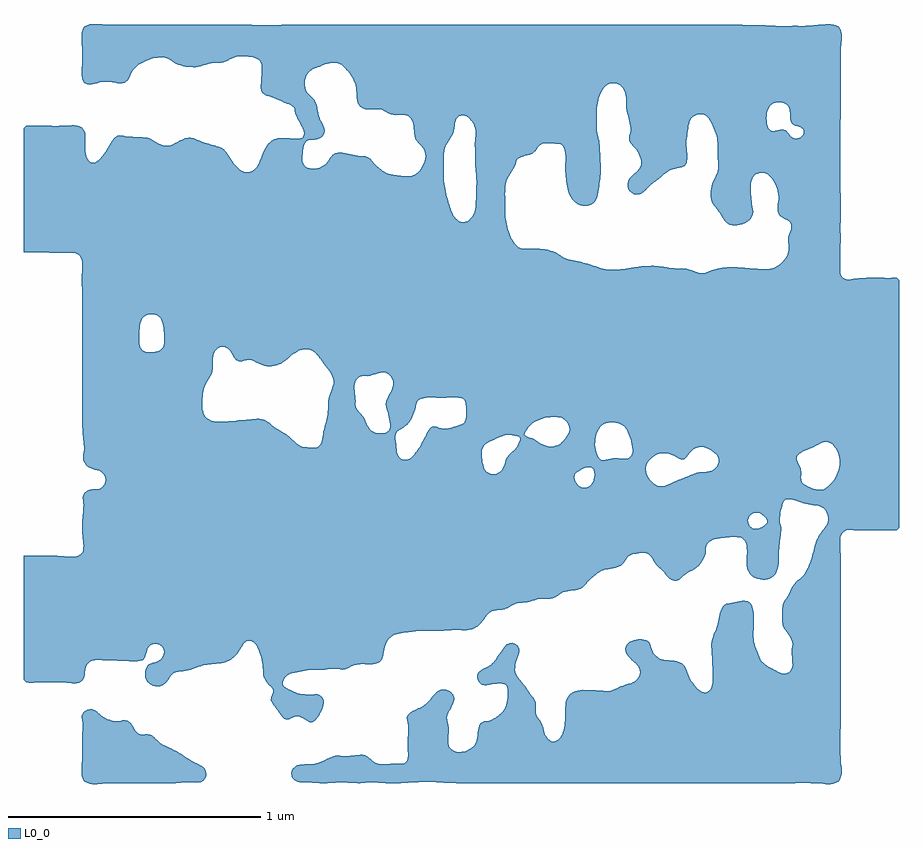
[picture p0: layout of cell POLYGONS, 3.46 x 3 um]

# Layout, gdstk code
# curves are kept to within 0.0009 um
import gdstk
lib = gdstk.Library(unit=1e-6, precision=1e-09)
def R(c, l, rs):  # rectangles x0, y0, x1, y1
    for r in rs: c.add(gdstk.rectangle(r[:2], r[2:], *l))
def P(c, l, *ps):  # polygons
    for p in ps: c.add(gdstk.Polygon(p, *l))
L0_0 = (0, 0)

polygons = lib.new_cell('POLYGONS')
R(polygons, L0_0, [(-1.314,-0.46,-1.11,-0.29), (-1.11,-0.46,-0.84,-0.29), (-0.84,-0.46,-0.67,-0.29), (-0.67,-0.46,-0.56,-0.29), (-0.56,-0.46,-0.41,-0.29), (-0.41,-0.46,-0.255,-0.29), (-0.255,-0.46,-0.11,-0.29), (-0.11,-0.46,0.03,-0.29), (0.03,-0.46,0.161,-0.29), (0.161,-0.46,0.28,-0.29), (0.28,-0.46,0.426,-0.29), (0.55,-0.46,0.69,-0.26), (-1.314,-0.29,-1.11,0), (-0.11,-0.29,0.03,-0.19), (-0.11,-0.19,0.03,-0.12)])
P(polygons, L0_0, [(-1.47,-1.501),(-1.44,-1.502),(-1.41,-1.5),(-1.22,-1.5),(-1.21,-1.499),(-1.14,-1.5),(-1.09,-1.495),(-1.07,-1.495),(-1.05,-1.497),(-1.03,-1.495),(-1.02,-1.49),(-1.01,-1.476),(-1.008,-1.47),(-1.008,-1.46),(-1.01,-1.452),(-1.016,-1.44),(-1.028,-1.43),(-1.04,-1.423),(-1.06,-1.415),(-1.13,-1.371),(-1.173,-1.35),(-1.19,-1.34),(-1.203,-1.33),(-1.22,-1.313),(-1.23,-1.307),(-1.24,-1.305),(-1.26,-1.307),(-1.27,-1.306),(-1.282,-1.3),(-1.291,-1.29),(-1.3,-1.273),(-1.309,-1.26),(-1.32,-1.252),(-1.33,-1.25),(-1.36,-1.254),(-1.38,-1.252),(-1.387,-1.25),(-1.4,-1.246),(-1.412,-1.24),(-1.42,-1.235),(-1.44,-1.217),(-1.45,-1.211),(-1.46,-1.207),(-1.47,-1.207),(-1.48,-1.209),(-1.49,-1.214),(-1.501,-1.23),(-1.501,-1.24),(-1.498,-1.26),(-1.498,-1.29),(-1.5,-1.33),(-1.5,-1.41),(-1.502,-1.44),(-1.501,-1.47),(-1.5,-1.475),(-1.493,-1.49),(-1.49,-1.493),(-1.48,-1.498)],
  [(-1.499,1.476),(-1.5,1.474),(-1.501,1.47),(-1.502,1.46),(-1.502,1.44),(-1.501,1.43),(-1.501,1.42),(-1.5,1.41),(-1.5,1.34),(-1.501,1.33),(-1.501,1.3),(-1.5,1.289),(-1.499,1.286)],
  [(-1.499,1.09),(-1.51,1.097),(-1.519,1.1),(-1.53,1.101),(-1.6,1.098),(-1.72,1.1),(-1.73,1.09),(-1.73,0.6),(-1.66,0.6),(-1.63,0.598),(-1.53,0.597),(-1.52,0.594),(-1.51,0.587),(-1.505,0.58),(-1.501,0.57),(-1.499,0.555)],
  [(-1.5,0.22),(-1.5,0.03),(-1.499,0.02),(-1.499,0.01),(-1.499,0.536),(-1.5,0.53),(-1.5,0.52),(-1.501,0.51),(-1.501,0.47),(-1.5,0.46)],
  [(-1.499,-0.466),(-1.5,-0.47),(-1.5,-0.475),(-1.5,-0.48),(-1.5,-0.49),(-1.5,-0.5),(-1.5,-0.5),(-1.499,-0.507)],
  [(-1.52,-1.104),(-1.508,-1.1),(-1.499,-1.093),(-1.499,-0.587),(-1.51,-0.598),(-1.52,-0.602),(-1.53,-0.604),(-1.55,-0.604),(-1.61,-0.599),(-1.73,-0.6),(-1.73,-1.09),(-1.72,-1.1),(-1.71,-1.101),(-1.59,-1.099),(-1.57,-1.1),(-1.53,-1.105)],
  [(-1.46,1.263),(-1.435,1.27),(-1.41,1.274),(-1.4,1.274),(-1.37,1.271),(-1.36,1.268),(-1.34,1.267),(-1.33,1.271),(-1.32,1.28),(-1.314,1.29),(-1.314,1.5),(-1.37,1.499),(-1.46,1.502),(-1.47,1.501),(-1.48,1.498),(-1.49,1.493),(-1.493,1.49),(-1.499,1.476),(-1.499,1.286),(-1.498,1.28),(-1.49,1.268),(-1.48,1.263),(-1.47,1.262)],
  [(-1.314,1.057),(-1.35,1.062),(-1.36,1.06),(-1.37,1.053),(-1.381,1.04),(-1.405,1),(-1.428,0.97),(-1.44,0.959),(-1.45,0.954),(-1.46,0.954),(-1.472,0.96),(-1.48,0.97),(-1.484,0.98),(-1.488,1.01),(-1.487,1.05),(-1.488,1.07),(-1.492,1.08),(-1.499,1.09),(-1.499,0.25),(-1.314,0.25)],
  [(-1.499,-0.02),(-1.499,-0.09),(-1.492,-0.17),(-1.492,-0.18),(-1.496,-0.21),(-1.495,-0.22),(-1.492,-0.23),(-1.486,-0.24),(-1.474,-0.25),(-1.46,-0.256),(-1.43,-0.264),(-1.421,-0.27),(-1.413,-0.28),(-1.41,-0.286),(-1.407,-0.3),(-1.41,-0.316),(-1.42,-0.33),(-1.43,-0.335),(-1.46,-0.336),(-1.47,-0.338),(-1.48,-0.342),(-1.49,-0.35),(-1.496,-0.36),(-1.497,-0.37),(-1.494,-0.4),(-1.499,-0.46),(-1.499,-0.51),(-1.494,-0.56),(-1.496,-0.58),(-1.499,-0.587),(-1.499,-1.093),(-1.492,-1.08),(-1.489,-1.07),(-1.488,-1.05),(-1.486,-1.04),(-1.482,-1.03),(-1.472,-1.02),(-1.46,-1.014),(-1.45,-1.012),(-1.43,-1.011),(-1.314,-1.016),(-1.314,0.25),(-1.499,0.25)],
  [(-1.31,1.299),(-1.299,1.32),(-1.29,1.33),(-1.28,1.338),(-1.24,1.359),(-1.23,1.363),(-1.21,1.368),(-1.191,1.37),(-1.18,1.37),(-1.17,1.368),(-1.153,1.36),(-1.13,1.345),(-1.11,1.338),(-1.11,1.5),(-1.314,1.5),(-1.314,1.29)],
  [(-1.11,1.043),(-1.15,1.023),(-1.16,1.021),(-1.17,1.021),(-1.18,1.022),(-1.2,1.03),(-1.22,1.043),(-1.24,1.052),(-1.27,1.055),(-1.29,1.055),(-1.314,1.057),(-1.314,0.25),(-1.274,0.25),(-1.273,0.29),(-1.27,0.317),(-1.266,0.33),(-1.26,0.341),(-1.25,0.349),(-1.24,0.353),(-1.23,0.354),(-1.21,0.353),(-1.2,0.349),(-1.189,0.34),(-1.18,0.32),(-1.174,0.27),(-1.174,0.24),(-1.18,0.223),(-1.19,0.213),(-1.195,0.21),(-1.21,0.206),(-1.24,0.205),(-1.25,0.207),(-1.26,0.211),(-1.268,0.22),(-1.27,0.225),(-1.274,0.25),(-1.314,0.25),(-1.314,0),(-1.11,0)],
  [(-1.19,-1.115),(-1.18,-1.112),(-1.17,-1.104),(-1.15,-1.074),(-1.14,-1.065),(-1.13,-1.06),(-1.11,-1.057),(-1.11,-0.46),(-1.314,-0.46),(-1.314,-1.016),(-1.28,-1.016),(-1.27,-1.015),(-1.26,-1.012),(-1.251,-1),(-1.24,-0.966),(-1.23,-0.954),(-1.22,-0.949),(-1.21,-0.948),(-1.2,-0.949),(-1.19,-0.953),(-1.182,-0.96),(-1.176,-0.97),(-1.175,-0.98),(-1.176,-0.99),(-1.18,-1),(-1.19,-1.011),(-1.209,-1.02),(-1.23,-1.026),(-1.238,-1.03),(-1.245,-1.04),(-1.251,-1.06),(-1.25,-1.08),(-1.246,-1.09),(-1.239,-1.1),(-1.23,-1.108),(-1.22,-1.113),(-1.21,-1.116)],
  [(-1.04,1.333),(-0.99,1.347),(-0.97,1.349),(-0.95,1.348),(-0.94,1.35),(-0.9,1.369),(-0.89,1.372),(-0.87,1.375),(-0.84,1.373),(-0.84,1.499),(-1.11,1.5),(-1.11,1.338),(-1.1,1.335),(-1.09,1.334),(-1.06,1.332)],
  [(-1.024,0.01),(-1.022,0.04),(-1.018,0.06),(-1.01,0.081),(-0.988,0.12),(-0.983,0.15),(-0.982,0.19),(-0.979,0.2),(-0.97,0.215),(-0.96,0.223),(-0.95,0.226),(-0.94,0.226),(-0.93,0.223),(-0.914,0.21),(-0.9,0.185),(-0.89,0.173),(-0.885,0.17),(-0.88,0.168),(-0.87,0.167),(-0.85,0.173),(-0.84,0.174),(-0.84,0.916),(-0.85,0.916),(-0.86,0.918),(-0.87,0.922),(-0.88,0.929),(-0.9,0.95),(-0.93,0.996),(-0.94,1.006),(-0.95,1.013),(-0.96,1.017),(-1.01,1.031),(-1.059,1.05),(-1.07,1.053),(-1.08,1.053),(-1.09,1.051),(-1.11,1.043),(-1.11,0),(-1.025,0)],
  [(-0.84,-0.062),(-0.94,-0.071),(-0.97,-0.071),(-0.98,-0.069),(-0.99,-0.066),(-1,-0.061),(-1.012,-0.05),(-1.018,-0.04),(-1.024,-0.02),(-1.025,0),(-1.11,0),(-1.11,-0.29),(-0.84,-0.29)],
  [(-1.1,-1.056),(-1.08,-1.053),(-1.04,-1.038),(-1.02,-1.033),(-1,-1.029),(-0.95,-1.024),(-0.93,-1.019),(-0.913,-1.01),(-0.9,-1.001),(-0.881,-0.98),(-0.86,-0.946),(-0.85,-0.938),(-0.84,-0.936),(-0.84,-0.46),(-1.11,-0.46),(-1.11,-1.057)],
  [(-0.67,1.499),(-0.72,1.498),(-0.84,1.499),(-0.84,1.373),(-0.83,1.372),(-0.81,1.365),(-0.802,1.36),(-0.793,1.35),(-0.79,1.34),(-0.79,1.3),(-0.793,1.25),(-0.792,1.24),(-0.788,1.23),(-0.773,1.22),(-0.74,1.209),(-0.7,1.191),(-0.68,1.184),(-0.67,1.178)],
  [(-0.8,0.953),(-0.807,0.94),(-0.82,0.926),(-0.84,0.916),(-0.84,0.174),(-0.83,0.172),(-0.79,0.155),(-0.78,0.152),(-0.77,0.15),(-0.75,0.149),(-0.73,0.153),(-0.71,0.162),(-0.697,0.17),(-0.67,0.194),(-0.67,1.049),(-0.69,1.051),(-0.72,1.051),(-0.74,1.046),(-0.75,1.04),(-0.761,1.03),(-0.776,1.01)],
  [(-0.67,-0.139),(-0.68,-0.129),(-0.7,-0.115),(-0.73,-0.098),(-0.75,-0.084),(-0.767,-0.07),(-0.78,-0.063),(-0.79,-0.06),(-0.8,-0.059),(-0.84,-0.062),(-0.84,-0.29),(-0.67,-0.29)],
  [(-0.68,-1.246),(-0.67,-1.24),(-0.67,-1.134),(-0.697,-1.12),(-0.706,-1.11),(-0.706,-1.1),(-0.703,-1.09),(-0.697,-1.08),(-0.685,-1.07),(-0.67,-1.065),(-0.67,-0.46),(-0.84,-0.46),(-0.84,-0.936),(-0.826,-0.94),(-0.814,-0.95),(-0.803,-0.97),(-0.795,-0.99),(-0.787,-1.02),(-0.784,-1.06),(-0.781,-1.08),(-0.77,-1.1),(-0.75,-1.121),(-0.744,-1.13),(-0.745,-1.14),(-0.752,-1.16),(-0.753,-1.17),(-0.749,-1.18),(-0.71,-1.234),(-0.7,-1.245),(-0.69,-1.249)],
  [(-0.67,-1.45),(-0.67,-1.45),(-0.672,-1.46),(-0.671,-1.47),(-0.67,-1.473)],
  [(-0.629,0.98),(-0.627,1),(-0.623,1.02),(-0.62,1.03),(-0.612,1.04),(-0.6,1.044),(-0.57,1.046),(-0.56,1.05),(-0.56,1.128),(-0.565,1.14),(-0.573,1.18),(-0.58,1.199),(-0.589,1.21),(-0.61,1.231),(-0.615,1.24),(-0.618,1.25),(-0.619,1.26),(-0.619,1.28),(-0.613,1.3),(-0.606,1.31),(-0.59,1.323),(-0.56,1.334),(-0.56,1.5),(-0.67,1.499),(-0.67,1.178),(-0.662,1.17),(-0.654,1.14),(-0.65,1.13),(-0.64,1.114),(-0.628,1.09),(-0.624,1.08),(-0.622,1.07),(-0.623,1.06),(-0.63,1.051),(-0.64,1.049),(-0.67,1.049),(-0.67,0.97),(-0.63,0.97)],
  [(-0.66,0.201),(-0.64,0.212),(-0.63,0.215),(-0.61,0.216),(-0.589,0.21),(-0.58,0.204),(-0.56,0.181),(-0.56,0.934),(-0.57,0.931),(-0.59,0.929),(-0.61,0.934),(-0.619,0.94),(-0.626,0.95),(-0.629,0.96),(-0.63,0.97),(-0.67,0.97),(-0.67,0.194)],
  [(-0.56,-0.164),(-0.57,-0.171),(-0.58,-0.172),(-0.62,-0.171),(-0.63,-0.169),(-0.65,-0.159),(-0.67,-0.139),(-0.67,-0.29),(-0.56,-0.29)],
  [(-0.66,-1.062),(-0.594,-1.05),(-0.56,-1.051),(-0.56,-0.46),(-0.67,-0.46),(-0.67,-1.065)],
  [(-0.66,-1.236),(-0.65,-1.234),(-0.64,-1.236),(-0.6,-1.257),(-0.59,-1.257),(-0.58,-1.252),(-0.57,-1.24),(-0.56,-1.224),(-0.56,-1.152),(-0.57,-1.148),(-0.61,-1.149),(-0.64,-1.146),(-0.658,-1.14),(-0.67,-1.134),(-0.67,-1.24)],
  [(-0.56,-1.416),(-0.57,-1.42),(-0.58,-1.422),(-0.6,-1.424),(-0.62,-1.424),(-0.65,-1.428),(-0.665,-1.44),(-0.67,-1.45),(-0.67,-1.473),(-0.667,-1.48),(-0.66,-1.488),(-0.65,-1.493),(-0.64,-1.495),(-0.6,-1.496),(-0.56,-1.499)],
  [(-0.545,1.34),(-0.52,1.347),(-0.51,1.348),(-0.49,1.347),(-0.474,1.34),(-0.462,1.33),(-0.45,1.317),(-0.43,1.29),(-0.42,1.267),(-0.416,1.25),(-0.415,1.22),(-0.413,1.2),(-0.41,1.189),(-0.41,1.5),(-0.56,1.5),(-0.56,1.334)],
  [(-0.55,1.057),(-0.548,1.06),(-0.542,1.07),(-0.541,1.08),(-0.542,1.09),(-0.546,1.1),(-0.55,1.11),(-0.55,1.11),(-0.556,1.12),(-0.56,1.128),(-0.56,1.05)],
  [(-0.518,0.04),(-0.522,0.03),(-0.526,0.01),(-0.529,-0.04),(-0.535,-0.07),(-0.546,-0.11),(-0.55,-0.14),(-0.557,-0.16),(-0.56,-0.164),(-0.56,-0.29),(-0.41,-0.29),(-0.41,-0.025),(-0.414,-0.02),(-0.418,-0.01),(-0.419,0),(-0.418,0.01),(-0.423,0.06),(-0.422,0.08),(-0.419,0.09),(-0.41,0.102),(-0.41,0.981),(-0.449,0.99),(-0.48,0.995),(-0.49,0.994),(-0.5,0.991),(-0.51,0.984),(-0.521,0.97),(-0.53,0.955),(-0.54,0.945),(-0.56,0.934),(-0.56,0.181),(-0.521,0.13),(-0.506,0.1),(-0.505,0.08)],
  [(-0.55,-1.05),(-0.54,-1.05),(-0.51,-1.046),(-0.5,-1.046),(-0.469,-1.05),(-0.46,-1.048),(-0.42,-1.031),(-0.41,-1.029),(-0.41,-0.46),(-0.56,-0.46),(-0.56,-1.051)],
  [(-0.558,-1.22),(-0.552,-1.21),(-0.55,-1.204),(-0.548,-1.2),(-0.546,-1.19),(-0.544,-1.18),(-0.545,-1.17),(-0.55,-1.16),(-0.55,-1.16),(-0.56,-1.152),(-0.56,-1.224)],
  [(-0.54,-1.499),(-0.49,-1.496),(-0.46,-1.496),(-0.41,-1.499),(-0.41,-1.388),(-0.45,-1.392),(-0.47,-1.392),(-0.49,-1.389),(-0.496,-1.39),(-0.525,-1.4),(-0.54,-1.408),(-0.56,-1.416),(-0.56,-1.499)],
  [(-0.255,1.143),(-0.255,1.5),(-0.41,1.5),(-0.41,1.189),(-0.4,1.174),(-0.393,1.17),(-0.38,1.166),(-0.32,1.165),(-0.31,1.162),(-0.29,1.15),(-0.28,1.146),(-0.27,1.143),(-0.26,1.142)],
  [(-0.395,0.11),(-0.39,0.111),(-0.37,0.11),(-0.32,0.124),(-0.31,0.125),(-0.3,0.124),(-0.29,0.12),(-0.28,0.11),(-0.27,0.09),(-0.269,0.08),(-0.271,0.07),(-0.278,0.05),(-0.29,0.029),(-0.298,0.01),(-0.299,0),(-0.298,-0.01),(-0.289,-0.04),(-0.283,-0.07),(-0.282,-0.08),(-0.283,-0.1),(-0.29,-0.108),(-0.3,-0.113),(-0.31,-0.115),(-0.32,-0.116),(-0.33,-0.115),(-0.34,-0.113),(-0.35,-0.109),(-0.362,-0.1),(-0.369,-0.09),(-0.389,-0.05),(-0.41,-0.025),(-0.41,-0.13),(-0.261,-0.13),(-0.26,-0.119),(-0.255,-0.109),(-0.255,0.904),(-0.29,0.91),(-0.31,0.919),(-0.33,0.935),(-0.345,0.95),(-0.36,0.969),(-0.37,0.976),(-0.38,0.979),(-0.41,0.981),(-0.41,0.102),(-0.4,0.109)],
  [(-0.255,-0.19),(-0.256,-0.18),(-0.257,-0.17),(-0.258,-0.16),(-0.26,-0.15),(-0.26,-0.145),(-0.261,-0.14),(-0.261,-0.13),(-0.41,-0.13),(-0.41,-0.29),(-0.255,-0.29)],
  [(-0.4,-1.028),(-0.39,-1.027),(-0.36,-1.029),(-0.35,-1.028),(-0.33,-1.023),(-0.325,-1.02),(-0.316,-1.01),(-0.31,-0.995),(-0.3,-0.95),(-0.29,-0.931),(-0.28,-0.921),(-0.27,-0.915),(-0.255,-0.909),(-0.255,-0.46),(-0.41,-0.46),(-0.41,-1.029)],
  [(-0.26,-1.499),(-0.255,-1.499),(-0.255,-1.422),(-0.32,-1.423),(-0.335,-1.42),(-0.353,-1.41),(-0.37,-1.395),(-0.38,-1.389),(-0.39,-1.387),(-0.41,-1.388),(-0.41,-1.499),(-0.37,-1.496),(-0.34,-1.496),(-0.3,-1.499)],
  [(-0.19,0.904),(-0.2,0.901),(-0.23,0.901),(-0.255,0.904),(-0.255,-0.109),(-0.243,-0.1),(-0.22,-0.086),(-0.21,-0.077),(-0.205,-0.07),(-0.194,-0.05),(-0.186,-0.03),(-0.178,0),(-0.174,0.01),(-0.17,0.014),(-0.161,0.02),(-0.15,0.023),(-0.13,0.026),(-0.11,0.026),(-0.11,1.499),(-0.12,1.5),(-0.255,1.5),(-0.255,1.143),(-0.22,1.142),(-0.21,1.139),(-0.2,1.13),(-0.191,1.11),(-0.186,1.08),(-0.186,1.07),(-0.183,1.05),(-0.177,1.04),(-0.151,1.01),(-0.146,1),(-0.143,0.99),(-0.142,0.98),(-0.143,0.97),(-0.15,0.95),(-0.16,0.93),(-0.167,0.92),(-0.178,0.91)],
  [(-0.144,-0.13),(-0.16,-0.16),(-0.179,-0.19),(-0.19,-0.204),(-0.2,-0.214),(-0.21,-0.219),(-0.22,-0.221),(-0.23,-0.22),(-0.24,-0.216),(-0.247,-0.21),(-0.25,-0.205),(-0.255,-0.19),(-0.255,-0.29),(-0.11,-0.29),(-0.11,-0.088),(-0.12,-0.092),(-0.13,-0.103)],
  [(-0.25,-0.908),(-0.23,-0.904),(-0.16,-0.896),(-0.11,-0.896),(-0.11,-0.46),(-0.255,-0.46),(-0.255,-0.909)],
  [(-0.25,-1.499),(-0.22,-1.498),(-0.19,-1.495),(-0.13,-1.493),(-0.11,-1.494),(-0.11,-1.152),(-0.13,-1.175),(-0.147,-1.19),(-0.163,-1.2),(-0.202,-1.22),(-0.212,-1.23),(-0.216,-1.24),(-0.21,-1.28),(-0.213,-1.33),(-0.213,-1.36),(-0.211,-1.38),(-0.212,-1.4),(-0.215,-1.41),(-0.22,-1.417),(-0.23,-1.421),(-0.255,-1.422),(-0.255,-1.499)],
  [(-0.071,0.92),(-0.069,1),(-0.066,1.01),(-0.057,1.03),(-0.04,1.056),(-0.033,1.07),(-0.028,1.09),(-0.026,1.11),(-0.02,1.128),(-0.01,1.137),(0,1.141),(0.013,1.14),(0.02,1.137),(0.03,1.13),(0.03,1.499),(-0.11,1.499),(-0.11,0.91),(-0.071,0.91)],
  [(0.03,0.727),(0.02,0.721),(0.01,0.719),(0,0.719),(-0.01,0.723),(-0.019,0.73),(-0.03,0.742),(-0.035,0.75),(-0.043,0.77),(-0.063,0.84),(-0.069,0.87),(-0.071,0.91),(-0.11,0.91),(-0.11,0.026),(-0.08,0.024),(-0.05,0.026),(-0.02,0.026),(0,0.023),(0.01,0.017),(0.015,0.01),(0.019,-0.02),(0.019,-0.05),(0.017,-0.06),(0.013,-0.07),(0.003,-0.08),(-0.04,-0.093),(-0.06,-0.097),(-0.08,-0.096),(-0.1,-0.089),(-0.11,-0.088),(-0.11,-0.12),(0.03,-0.12)],
  [(-0.09,-0.897),(-0.03,-0.893),(0,-0.894),(0.03,-0.893),(0.03,-0.46),(-0.11,-0.46),(-0.11,-0.896)],
  [(0.03,-1.365),(0.01,-1.374),(-0.01,-1.376),(-0.03,-1.371),(-0.045,-1.36),(-0.05,-1.352),(-0.053,-1.34),(-0.051,-1.28),(-0.052,-1.27),(-0.057,-1.25),(-0.058,-1.24),(-0.057,-1.23),(-0.053,-1.22),(-0.036,-1.19),(-0.029,-1.17),(-0.029,-1.16),(-0.033,-1.15),(-0.04,-1.141),(-0.05,-1.134),(-0.06,-1.13),(-0.07,-1.128),(-0.08,-1.129),(-0.09,-1.133),(-0.099,-1.14),(-0.11,-1.152),(-0.11,-1.494),(-0.06,-1.498),(0.03,-1.499)],
  [(0.058,0.81),(0.056,0.78),(0.052,0.76),(0.042,0.74),(0.03,0.727),(0.03,-0.12),(0.161,-0.12),(0.161,1.499),(0.03,1.499),(0.03,1.13),(0.04,1.119),(0.051,1.1),(0.054,1.09),(0.057,1.07),(0.053,1.02),(0.055,0.99),(0.054,0.95),(0.06,0.88)],
  [(0.08,-0.187),(0.081,-0.18),(0.085,-0.17),(0.094,-0.16),(0.109,-0.15),(0.161,-0.127),(0.161,-0.12),(0.03,-0.12),(0.03,-0.19),(0.08,-0.19)],
  [(0.161,-0.26),(0.151,-0.27),(0.14,-0.275),(0.13,-0.277),(0.12,-0.277),(0.11,-0.274),(0.1,-0.269),(0.092,-0.26),(0.085,-0.24),(0.083,-0.23),(0.08,-0.19),(0.03,-0.19),(0.03,-0.29),(0.161,-0.29)],
  [(0.04,-0.891),(0.062,-0.88),(0.07,-0.873),(0.08,-0.862),(0.1,-0.835),(0.11,-0.825),(0.119,-0.82),(0.13,-0.817),(0.161,-0.813),(0.161,-0.46),(0.03,-0.46),(0.03,-0.893)],
  [(0.1,-1.111),(0.12,-1.107),(0.15,-1.104),(0.16,-1.104),(0.161,-1.105),(0.161,-0.973),(0.135,-1.01),(0.117,-1.03),(0.1,-1.041),(0.08,-1.05),(0.068,-1.06),(0.063,-1.07),(0.062,-1.08),(0.064,-1.09),(0.07,-1.1),(0.08,-1.109),(0.09,-1.111)],
  [(0.161,-1.218),(0.149,-1.23),(0.136,-1.24),(0.12,-1.249),(0.11,-1.252),(0.09,-1.254),(0.08,-1.259),(0.071,-1.27),(0.066,-1.29),(0.063,-1.32),(0.061,-1.33),(0.057,-1.34),(0.05,-1.35),(0.039,-1.36),(0.03,-1.365),(0.03,-1.499),(0.161,-1.499)],
  [(0.172,0.84),(0.174,0.87),(0.18,0.888),(0.186,0.9),(0.2,0.921),(0.21,0.939),(0.22,0.967),(0.23,0.974),(0.24,0.978),(0.26,0.983),(0.28,0.99),(0.28,1.499),(0.161,1.499),(0.161,0.83),(0.171,0.83)],
  [(0.25,-0.117),(0.252,-0.11),(0.26,-0.098),(0.27,-0.085),(0.28,-0.076),(0.28,0.614),(0.25,0.613),(0.24,0.614),(0.23,0.617),(0.22,0.624),(0.21,0.634),(0.199,0.65),(0.186,0.68),(0.174,0.73),(0.172,0.75),(0.171,0.83),(0.161,0.83),(0.161,-0.12),(0.248,-0.12)],
  [(0.28,-0.136),(0.26,-0.13),(0.25,-0.123),(0.248,-0.12),(0.161,-0.12),(0.161,-0.127),(0.17,-0.123),(0.18,-0.121),(0.19,-0.121),(0.229,-0.13),(0.233,-0.14),(0.225,-0.16),(0.218,-0.17),(0.21,-0.18),(0.188,-0.2),(0.18,-0.21),(0.175,-0.22),(0.17,-0.24),(0.161,-0.26),(0.161,-0.29),(0.28,-0.29)],
  [(0.17,-0.811),(0.212,-0.79),(0.23,-0.786),(0.26,-0.783),(0.28,-0.778),(0.28,-0.46),(0.161,-0.46),(0.161,-0.813)],
  [(0.28,-1.158),(0.27,-1.145),(0.25,-1.114),(0.222,-1.08),(0.212,-1.06),(0.211,-1.05),(0.215,-1.02),(0.229,-0.98),(0.229,-0.97),(0.225,-0.96),(0.22,-0.954),(0.21,-0.947),(0.2,-0.944),(0.19,-0.945),(0.18,-0.949),(0.17,-0.96),(0.161,-0.973),(0.161,-1.105),(0.17,-1.107),(0.174,-1.11),(0.181,-1.12),(0.183,-1.13),(0.182,-1.16),(0.176,-1.19),(0.173,-1.2),(0.161,-1.218),(0.161,-1.499),(0.28,-1.5)],
  [(0.291,1),(0.31,1.023),(0.32,1.028),(0.329,1.03),(0.34,1.031),(0.39,1.028),(0.401,1.02),(0.406,1.01),(0.411,0.99),(0.412,0.98),(0.411,0.92),(0.419,0.85),(0.426,0.83),(0.426,1.499),(0.28,1.499),(0.28,0.99)],
  [(0.29,-0.07),(0.314,-0.06),(0.34,-0.053),(0.36,-0.051),(0.39,-0.053),(0.405,-0.06),(0.416,-0.07),(0.422,-0.08),(0.426,-0.09),(0.426,-0.094),(0.426,0.571),(0.42,0.572),(0.401,0.58),(0.38,0.594),(0.36,0.603),(0.33,0.611),(0.3,0.614),(0.28,0.614),(0.28,-0.076)],
  [(0.37,-0.166),(0.36,-0.168),(0.35,-0.168),(0.34,-0.167),(0.33,-0.164),(0.31,-0.155),(0.28,-0.136),(0.28,-0.29),(0.426,-0.29),(0.426,-0.108),(0.422,-0.12),(0.408,-0.14),(0.4,-0.149),(0.39,-0.159),(0.38,-0.164)],
  [(0.29,-0.775),(0.309,-0.77),(0.36,-0.768),(0.37,-0.764),(0.39,-0.75),(0.4,-0.745),(0.426,-0.739),(0.426,-0.46),(0.28,-0.46),(0.28,-0.778)],
  [(0.426,-1.151),(0.42,-1.159),(0.415,-1.17),(0.413,-1.18),(0.41,-1.21),(0.41,-1.25),(0.408,-1.27),(0.401,-1.3),(0.39,-1.32),(0.379,-1.33),(0.37,-1.334),(0.36,-1.335),(0.348,-1.33),(0.34,-1.323),(0.332,-1.31),(0.328,-1.3),(0.32,-1.27),(0.31,-1.25),(0.296,-1.23),(0.293,-1.22),(0.294,-1.18),(0.29,-1.17),(0.283,-1.16),(0.28,-1.158),(0.28,-1.5),(0.426,-1.5)],
  [(0.5,0.784),(0.52,0.794),(0.53,0.805),(0.536,0.82),(0.539,0.83),(0.544,0.86),(0.55,0.91),(0.55,0.952),(0.548,0.97),(0.547,1.01),(0.544,1.04),(0.538,1.06),(0.534,1.09),(0.536,1.18),(0.54,1.2),(0.55,1.229),(0.55,1.499),(0.426,1.499),(0.426,0.83),(0.431,0.82),(0.44,0.807),(0.45,0.797),(0.46,0.79),(0.47,0.786),(0.48,0.784),(0.49,0.783)],
  [(0.528,-0.15),(0.528,-0.14),(0.533,-0.12),(0.54,-0.103),(0.55,-0.088),(0.55,0.537),(0.49,0.557),(0.426,0.571),(0.426,-0.094),(0.427,-0.1),(0.426,-0.16),(0.527,-0.16)],
  [(0.526,-0.28),(0.523,-0.3),(0.519,-0.31),(0.51,-0.322),(0.5,-0.329),(0.49,-0.332),(0.48,-0.332),(0.474,-0.33),(0.46,-0.321),(0.452,-0.31),(0.448,-0.3),(0.446,-0.29),(0.426,-0.29),(0.426,-0.46),(0.55,-0.46),(0.55,-0.22),(0.54,-0.211),(0.532,-0.19),(0.527,-0.16),(0.426,-0.16),(0.426,-0.29),(0.446,-0.29),(0.448,-0.28),(0.455,-0.27),(0.48,-0.256),(0.49,-0.252),(0.5,-0.25),(0.51,-0.25),(0.52,-0.256),(0.525,-0.27)],
  [(0.43,-0.738),(0.45,-0.736),(0.47,-0.731),(0.48,-0.724),(0.49,-0.714),(0.5,-0.701),(0.522,-0.68),(0.535,-0.67),(0.55,-0.661),(0.55,-0.46),(0.426,-0.46),(0.426,-0.739)],
  [(0.45,-1.5),(0.55,-1.5),(0.55,-1.133),(0.48,-1.13),(0.47,-1.131),(0.45,-1.135),(0.44,-1.14),(0.426,-1.151),(0.426,-1.5)],
  [(0.69,1.5),(0.55,1.499),(0.55,1.23),(0.56,1.246),(0.57,1.258),(0.58,1.264),(0.59,1.267),(0.6,1.268),(0.61,1.267),(0.62,1.264),(0.63,1.258),(0.64,1.247),(0.648,1.23),(0.65,1.221),(0.652,1.17),(0.666,1.11),(0.668,1.08),(0.667,1.07),(0.664,1.06),(0.663,1.05),(0.664,1.04),(0.668,1.03),(0.69,1.006)],
  [(0.551,0.93),(0.551,0.94),(0.55,0.948),(0.55,0.92)],
  [(0.69,0.917),(0.67,0.898),(0.664,0.89),(0.657,0.87),(0.657,0.86),(0.66,0.849),(0.666,0.84),(0.67,0.836),(0.68,0.83),(0.69,0.828)],
  [(0.69,0.541),(0.65,0.534),(0.62,0.531),(0.58,0.531),(0.57,0.532),(0.55,0.537),(0.55,-0.088),(0.56,-0.08),(0.57,-0.076),(0.58,-0.074),(0.6,-0.073),(0.62,-0.076),(0.631,-0.08),(0.646,-0.09),(0.653,-0.1),(0.666,-0.13),(0.669,-0.14),(0.676,-0.18),(0.676,-0.19),(0.673,-0.2),(0.666,-0.21),(0.66,-0.214),(0.65,-0.216),(0.6,-0.215),(0.56,-0.222),(0.55,-0.22),(0.55,-0.26),(0.69,-0.26)],
  [(0.552,-0.66),(0.57,-0.654),(0.6,-0.65),(0.61,-0.648),(0.62,-0.644),(0.63,-0.639),(0.64,-0.629),(0.66,-0.602),(0.67,-0.595),(0.68,-0.592),(0.69,-0.591),(0.69,-0.46),(0.55,-0.46),(0.55,-0.661)],
  [(0.69,-0.931),(0.68,-0.933),(0.666,-0.94),(0.66,-0.945),(0.65,-0.96),(0.648,-0.97),(0.649,-0.98),(0.661,-1),(0.69,-1.027)],
  [(0.69,-1.092),(0.68,-1.099),(0.63,-1.116),(0.6,-1.13),(0.59,-1.133),(0.58,-1.135),(0.55,-1.133),(0.55,-1.5),(0.69,-1.5)],
  [(0.7,0.829),(0.71,0.832),(0.72,0.838),(0.75,0.868),(0.77,0.882),(0.8,0.908),(0.81,0.915),(0.83,0.926),(0.85,0.931),(0.85,1.5),(0.69,1.5),(0.69,1.006),(0.7,0.992),(0.705,0.98),(0.71,0.962),(0.711,0.95),(0.709,0.94),(0.703,0.93),(0.69,0.917),(0.69,0.828)],
  [(0.729,-0.25),(0.731,-0.24),(0.74,-0.224),(0.76,-0.206),(0.78,-0.196),(0.8,-0.194),(0.81,-0.195),(0.83,-0.2),(0.85,-0.21),(0.85,0.535),(0.78,0.545),(0.76,0.546),(0.72,0.545),(0.69,0.541),(0.69,-0.26),(0.729,-0.26)],
  [(0.85,-0.303),(0.81,-0.322),(0.8,-0.325),(0.79,-0.326),(0.78,-0.325),(0.767,-0.32),(0.754,-0.31),(0.745,-0.3),(0.733,-0.28),(0.73,-0.27),(0.729,-0.26),(0.69,-0.26),(0.69,-0.46),(0.85,-0.46)],
  [(0.7,-0.589),(0.72,-0.588),(0.731,-0.59),(0.74,-0.594),(0.75,-0.604),(0.765,-0.63),(0.773,-0.64),(0.79,-0.654),(0.82,-0.687),(0.83,-0.695),(0.84,-0.699),(0.85,-0.699),(0.85,-0.46),(0.69,-0.46),(0.69,-0.591)],
  [(0.71,-1.5),(0.85,-1.5),(0.85,-1.017),(0.798,-1.01),(0.79,-1.008),(0.773,-1),(0.762,-0.99),(0.755,-0.98),(0.751,-0.97),(0.747,-0.95),(0.74,-0.94),(0.73,-0.934),(0.72,-0.931),(0.698,-0.93),(0.69,-0.931),(0.69,-1.027),(0.701,-1.04),(0.705,-1.05),(0.707,-1.06),(0.705,-1.07),(0.701,-1.08),(0.69,-1.092),(0.69,-1.5)],
  [(0.983,1.12),(0.99,1.108),(0.99,1.5),(0.85,1.5),(0.85,0.931),(0.87,0.935),(0.881,0.94),(0.89,0.954),(0.892,0.97),(0.892,0.99),(0.889,1.02),(0.89,1.05),(0.897,1.1),(0.903,1.12),(0.909,1.13),(0.921,1.14),(0.93,1.144),(0.94,1.146),(0.95,1.146),(0.96,1.144),(0.97,1.138),(0.98,1.126)],
  [(0.99,0.861),(0.99,0.86),(0.988,0.85),(0.986,0.84),(0.986,0.83),(0.986,0.82),(0.987,0.81),(0.99,0.8),(0.99,0.8)],
  [(0.88,-0.218),(0.89,-0.209),(0.896,-0.2),(0.91,-0.184),(0.93,-0.172),(0.94,-0.169),(0.95,-0.168),(0.96,-0.17),(0.98,-0.178),(0.99,-0.184),(0.99,0.528),(0.97,0.52),(0.96,0.517),(0.95,0.516),(0.94,0.517),(0.89,0.534),(0.87,0.536),(0.85,0.535),(0.85,-0.21),(0.87,-0.22)],
  [(0.99,-0.263),(0.97,-0.268),(0.939,-0.27),(0.93,-0.272),(0.85,-0.303),(0.85,-0.46),(0.99,-0.46)],
  [(0.86,-0.694),(0.875,-0.68),(0.89,-0.669),(0.91,-0.659),(0.93,-0.646),(0.946,-0.63),(0.958,-0.61),(0.965,-0.59),(0.965,-0.58),(0.968,-0.56),(0.974,-0.55),(0.99,-0.538),(0.99,-0.46),(0.85,-0.46),(0.85,-0.699)],
  [(0.99,-0.937),(0.989,-0.94),(0.988,-0.95),(0.988,-0.96),(0.989,-0.97),(0.99,-0.98),(0.99,-0.983)],
  [(0.86,-1.5),(0.99,-1.499),(0.99,-1.116),(0.989,-1.12),(0.98,-1.134),(0.97,-1.14),(0.96,-1.141),(0.95,-1.138),(0.94,-1.132),(0.927,-1.12),(0.905,-1.09),(0.892,-1.06),(0.89,-1.052),(0.88,-1.034),(0.87,-1.025),(0.86,-1.02),(0.85,-1.017),(0.85,-1.5)],
  [(1.14,1.498),(0.99,1.5),(0.99,1.13),(1.14,1.13)],
  [(1.09,0.706),(1.11,0.71),(1.13,0.72),(1.14,0.728),(1.14,1.13),(0.99,1.13),(0.99,1.108),(1.005,1.07),(1.01,1.05),(1.012,1.03),(1.012,0.97),(1.015,0.95),(1.015,0.94),(1.012,0.92),(1.009,0.91),(0.992,0.87),(0.99,0.861),(0.99,0.8),(0.995,0.79),(1.02,0.756),(1.04,0.724),(1.05,0.714),(1.057,0.71),(1.07,0.706),(1.08,0.705)],
  [(1.016,-0.23),(1.013,-0.24),(1.007,-0.25),(1,-0.257),(0.99,-0.263),(0.99,-0.46),(1.132,-0.46),(1.135,-0.45),(1.14,-0.442),(1.14,0.536),(1.09,0.54),(1.05,0.54),(1.03,0.538),(1.01,0.534),(0.99,0.528),(0.99,-0.184),(1.008,-0.2),(1.014,-0.21),(1.016,-0.22)],
  [(1.01,-0.532),(1.02,-0.53),(1.08,-0.525),(1.1,-0.527),(1.109,-0.53),(1.12,-0.54),(1.125,-0.55),(1.129,-0.58),(1.127,-0.64),(1.129,-0.65),(1.133,-0.66),(1.14,-0.67),(1.14,-0.483),(1.137,-0.48),(1.133,-0.47),(1.132,-0.46),(0.99,-0.46),(0.99,-0.538)],
  [(1.12,-1.5),(1.14,-1.499),(1.14,-0.785),(1.13,-0.779),(1.12,-0.777),(1.05,-0.789),(1.04,-0.794),(1.03,-0.806),(1.02,-0.83),(1.012,-0.87),(1.006,-0.89),(0.991,-0.93),(0.99,-0.937),(0.99,-0.99),(0.994,-1.07),(0.993,-1.1),(0.99,-1.116),(0.99,-1.499)],
  [(1.206,1.14),(1.209,1.16),(1.22,1.179),(1.23,1.187),(1.237,1.19),(1.253,1.193),(1.253,1.494),(1.2,1.497),(1.14,1.498),(1.14,1.13),(1.205,1.13)],
  [(1.14,0.729),(1.15,0.744),(1.153,0.76),(1.145,0.81),(1.143,0.85),(1.145,0.88),(1.15,0.893),(1.16,0.906),(1.167,0.91),(1.18,0.914),(1.19,0.914),(1.2,0.912),(1.21,0.908),(1.228,0.89),(1.24,0.871),(1.245,0.86),(1.249,0.85),(1.253,0.82),(1.25,0.78),(1.25,0.76),(1.253,0.753),(1.253,1.083),(1.23,1.078),(1.22,1.082),(1.213,1.09),(1.209,1.1),(1.205,1.13),(1.14,1.13)],
  [(1.253,0.548),(1.24,0.54),(1.23,0.536),(1.22,0.534),(1.18,0.533),(1.14,0.536),(1.14,-0.21),(1.253,-0.21)],
  [(1.2,-0.694),(1.22,-0.689),(1.233,-0.68),(1.242,-0.67),(1.247,-0.66),(1.252,-0.64),(1.253,-0.63),(1.253,-0.21),(1.14,-0.21),(1.14,-0.442),(1.15,-0.433),(1.16,-0.429),(1.17,-0.429),(1.18,-0.432),(1.192,-0.44),(1.203,-0.45),(1.208,-0.46),(1.208,-0.47),(1.198,-0.48),(1.18,-0.49),(1.17,-0.493),(1.16,-0.494),(1.15,-0.492),(1.14,-0.483),(1.14,-0.671),(1.15,-0.68),(1.169,-0.69),(1.18,-0.693)],
  [(1.14,-1.499),(1.253,-1.499),(1.253,-1.06),(1.2,-1.03),(1.189,-1.02),(1.181,-1.01),(1.176,-1),(1.156,-0.94),(1.154,-0.92),(1.156,-0.87),(1.156,-0.84),(1.154,-0.82),(1.149,-0.8),(1.14,-0.785)],
  [(1.35,1.494),(1.33,1.495),(1.253,1.494),(1.253,1.193),(1.271,1.19),(1.289,1.18),(1.295,1.17),(1.298,1.16),(1.3,1.13),(1.302,1.12),(1.306,1.11),(1.31,1.106),(1.32,1.1),(1.34,1.093),(1.35,1.085)],
  [(1.33,-0.203),(1.34,-0.193),(1.35,-0.187),(1.35,1.065),(1.347,1.06),(1.331,1.05),(1.32,1.049),(1.31,1.052),(1.3,1.059),(1.284,1.08),(1.27,1.085),(1.253,1.083),(1.253,0.753),(1.254,0.75),(1.26,0.743),(1.27,0.736),(1.29,0.726),(1.297,0.72),(1.303,0.71),(1.304,0.7),(1.303,0.69),(1.292,0.66),(1.291,0.65),(1.293,0.63),(1.293,0.61),(1.292,0.6),(1.289,0.59),(1.284,0.58),(1.276,0.57),(1.26,0.553),(1.253,0.548),(1.253,-0.21),(1.326,-0.21)],
  [(1.253,-0.61),(1.254,-0.58),(1.263,-0.5),(1.263,-0.49),(1.26,-0.474),(1.258,-0.47),(1.257,-0.45),(1.262,-0.42),(1.27,-0.39),(1.28,-0.379),(1.29,-0.376),(1.3,-0.376),(1.33,-0.384),(1.35,-0.392),(1.35,-0.315),(1.345,-0.31),(1.342,-0.3),(1.341,-0.29),(1.343,-0.27),(1.338,-0.25),(1.326,-0.22),(1.326,-0.21),(1.253,-0.21)],
  [(1.26,-1.499),(1.35,-1.498),(1.35,-0.679),(1.32,-0.706),(1.31,-0.72),(1.29,-0.759),(1.276,-0.78),(1.271,-0.79),(1.267,-0.81),(1.268,-0.86),(1.27,-0.874),(1.278,-0.89),(1.299,-0.92),(1.304,-0.93),(1.309,-0.95),(1.306,-0.97),(1.306,-0.99),(1.309,-1.03),(1.308,-1.04),(1.304,-1.05),(1.3,-1.056),(1.29,-1.063),(1.28,-1.066),(1.27,-1.066),(1.253,-1.06),(1.253,-1.499)],
  [(1.498,1.12),(1.499,1.13),(1.499,1.24),(1.5,1.25),(1.499,1.26),(1.499,1.39),(1.5,1.4),(1.5,1.41),(1.501,1.42),(1.501,1.43),(1.502,1.44),(1.502,1.46),(1.501,1.47),(1.499,1.48),(1.498,1.481)],
  [(1.498,0.71),(1.499,0.72),(1.499,0.83),(1.498,0.84),(1.498,0.851)],
  [(1.498,0.63),(1.499,0.64),(1.499,0.65),(1.499,0.66),(1.499,0.67),(1.498,0.68),(1.498,0.683),(1.498,0.622)],
  [(1.5,-0.521),(1.505,-0.51),(1.51,-0.505),(1.52,-0.5),(1.53,-0.498),(1.58,-0.5),(1.67,-0.499),(1.72,-0.5),(1.73,-0.49),(1.73,0.49),(1.72,0.5),(1.69,0.498),(1.63,0.5),(1.6,0.499),(1.58,0.498),(1.53,0.492),(1.52,0.493),(1.51,0.497),(1.506,0.5),(1.5,0.509),(1.498,0.516),(1.498,-0.529)],
  [(1.498,-1.29),(1.499,-1.28),(1.499,-1.19),(1.5,-1.18),(1.5,-0.62),(1.499,-0.61),(1.499,-0.59),(1.498,-0.587)],
  [(1.498,-1.48),(1.501,-1.47),(1.502,-1.46),(1.502,-1.44),(1.5,-1.42),(1.5,-1.41),(1.499,-1.4),(1.499,-1.39),(1.498,-1.386)],
  [(1.46,-1.502),(1.474,-1.5),(1.49,-1.493),(1.493,-1.49),(1.498,-1.48),(1.498,-1.37),(1.497,-1.36),(1.498,-1.34),(1.498,-0.58),(1.497,-0.57),(1.498,-0.29),(1.48,-0.29),(1.47,-0.305),(1.456,-0.32),(1.44,-0.333),(1.43,-0.338),(1.41,-0.339),(1.4,-0.337),(1.37,-0.327),(1.356,-0.32),(1.35,-0.315),(1.35,-0.392),(1.37,-0.397),(1.41,-0.403),(1.42,-0.406),(1.43,-0.411),(1.439,-0.42),(1.444,-0.43),(1.448,-0.44),(1.449,-0.45),(1.449,-0.46),(1.447,-0.47),(1.443,-0.48),(1.413,-0.52),(1.403,-0.54),(1.381,-0.62),(1.37,-0.647),(1.357,-0.67),(1.35,-0.679),(1.35,-1.498)],
  [(1.498,0.516),(1.497,0.52),(1.498,0.58),(1.498,0.89),(1.497,0.9),(1.498,1.481),(1.49,1.493),(1.48,1.498),(1.472,1.5),(1.44,1.501),(1.35,1.494),(1.35,1.085),(1.353,1.08),(1.353,1.07),(1.35,1.065),(1.35,-0.187),(1.43,-0.152),(1.44,-0.15),(1.45,-0.151),(1.46,-0.155),(1.467,-0.16),(1.48,-0.175),(1.492,-0.2),(1.495,-0.22),(1.494,-0.25),(1.488,-0.27),(1.48,-0.29),(1.498,-0.29)])

lib.write_gds('POLYGONS.gds')
